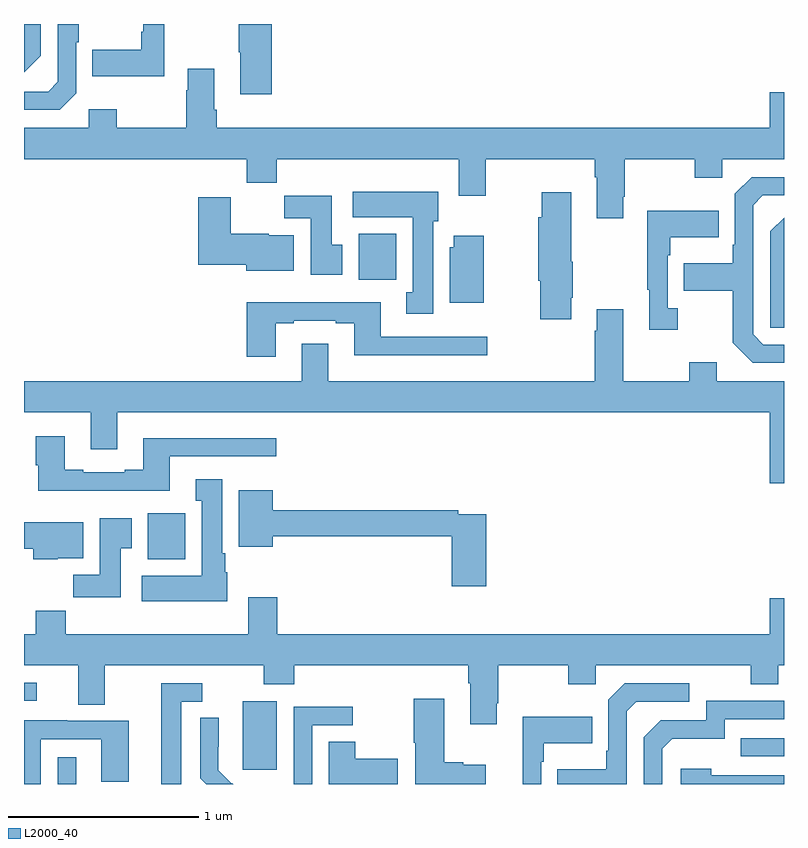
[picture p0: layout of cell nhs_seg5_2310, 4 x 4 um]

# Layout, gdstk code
import gdstk
lib = gdstk.Library(unit=1e-6, precision=1e-09)
def R(c, l, rs):  # rectangles x0, y0, x1, y1
    for r in rs: c.add(gdstk.rectangle(r[:2], r[2:], *l))
def P(c, l, *ps):  # polygons
    for p in ps: c.add(gdstk.Polygon(p, *l))
L2000_40 = (2000, 40)

nhs_seg5_2310 = lib.new_cell('nhs_seg5_2310')
R(nhs_seg5_2310, L2000_40, [(245.178,858.799,245.275,858.94), (246.152,858.873,246.331,859.234), (248.773,858.945,249,859.041), (245,859.236,245.068,859.332), (245.651,859.982,245.848,860.224), (246.761,861.452,246.958,861.694)])
P(nhs_seg5_2310, L2000_40, [(245.737,862.799),(245.628,862.799),(245.628,862.759),(245.616,862.759),(245.616,862.663),(245.359,862.663),(245.359,862.523),(245.737,862.523)],
  [(246.305,862.799),(246.13,862.799),(246.13,862.651),(246.137,862.651),(246.137,862.428),(246.305,862.428)],
  [(245.274,862.434),(245.274,862.703),(245.287,862.703),(245.287,862.799),(245.178,862.799),(245.178,862.494),(245.127,862.443),(245,862.443),(245,862.347),(245.187,862.347)],
  [(245.088,862.632),(245.088,862.799),(245,862.799),(245,862.544)],
  [(248.155,861.889),(248.163,861.889),(248.163,862.088),(248.53,862.088),(248.53,861.989),(248.676,861.989),(248.676,862.088),(249,862.088),(249,862.441),(248.924,862.441),(248.924,862.252),(246.014,862.252),(246.014,862.348),(246.001,862.348),(246.001,862.564),(245.861,862.564),(245.861,862.451),(245.854,862.451),(245.854,862.252),(245.487,862.252),(245.487,862.351),(245.34,862.351),(245.34,862.252),(245,862.252),(245,862.088),(246.173,862.088),(246.173,861.964),(246.329,861.964),(246.329,862.088),(247.289,862.088),(247.289,861.894),(247.429,861.894),(247.429,862.088),(248.003,862.088),(248.003,861.992),(248.015,861.992),(248.015,861.777),(248.155,861.777)],
  [(249,861.111),(248.892,861.111),(248.838,861.165),(248.838,861.846),(248.889,861.897),(249,861.897),(249,861.993),(248.829,861.993),(248.742,861.906),(248.742,861.637),(248.73,861.637),(248.73,861.541),(248.473,861.541),(248.473,861.394),(248.73,861.394),(248.73,861.121),(248.835,861.015),(249,861.015)],
  [(247.153,861.762),(247.18,861.762),(247.18,861.916),(246.729,861.916),(246.729,861.782),(247.046,861.782),(247.046,861.386),(247.013,861.386),(247.013,861.273),(247.153,861.273)],
  [(247.879,861.358),(247.887,861.358),(247.887,861.547),(247.879,861.547),(247.879,861.913),(247.724,861.913),(247.724,861.783),(247.706,861.783),(247.706,861.447),(247.717,861.447),(247.717,861.246),(247.879,861.246)],
  [(246.676,861.636),(246.619,861.636),(246.619,861.895),(246.37,861.895),(246.37,861.776),(246.509,861.776),(246.509,861.48),(246.676,861.48)],
  [(246.421,861.688),(246.288,861.688),(246.288,861.694),(246.088,861.694),(246.088,861.886),(245.918,861.886),(245.918,861.533),(246.17,861.533),(246.17,861.5),(246.421,861.5)],
  [(248.44,861.302),(248.388,861.302),(248.388,861.581),(248.401,861.581),(248.401,861.677),(248.657,861.677),(248.657,861.817),(248.28,861.817),(248.28,861.401),(248.291,861.401),(248.291,861.189),(248.44,861.189)],
  [(249,861.78),(248.928,861.708),(248.928,861.201),(249,861.201)],
  [(247.42,861.685),(247.262,861.685),(247.262,861.624),(247.241,861.624),(247.241,861.332),(247.42,861.332)],
  [(246.325,861.225),(246.421,861.225),(246.421,861.237),(246.641,861.237),(246.641,861.225),(246.737,861.225),(246.737,861.056),(247.438,861.056),(247.438,861.153),(246.877,861.153),(246.877,861.334),(246.173,861.334),(246.173,861.048),(246.325,861.048)],
  [(249,860.92),(248.647,860.92),(248.647,861.019),(248.5,861.019),(248.5,860.92),(248.155,860.92),(248.155,861.298),(248.015,861.298),(248.015,861.185),(248.003,861.185),(248.003,860.92),(246.601,860.92),(246.601,861.115),(246.461,861.115),(246.461,860.92),(245,860.92),(245,860.756),(245.351,860.756),(245.351,860.562),(245.491,860.562),(245.491,860.756),(248.924,860.756),(248.924,860.382),(249,860.382)],
  [(245.767,860.523),(246.328,860.523),(246.328,860.62),(245.627,860.62),(245.627,860.452),(245.531,860.452),(245.531,860.439),(245.311,860.439),(245.311,860.452),(245.215,860.452),(245.215,860.629),(245.063,860.629),(245.063,860.476),(245.075,860.476),(245.075,860.342),(245.767,860.342)],
  [(246.07,859.914),(246.058,859.914),(246.058,860.014),(246.043,860.014),(246.043,860.404),(245.903,860.404),(245.903,860.291),(245.936,860.291),(245.936,859.894),(245.619,859.894),(245.619,859.76),(246.07,859.76)],
  [(247.433,860.22),(247.286,860.22),(247.286,860.24),(246.31,860.24),(246.31,860.344),(246.131,860.344),(246.131,860.048),(246.31,860.048),(246.31,860.104),(247.25,860.104),(247.25,859.839),(247.433,859.839)],
  [(245.509,860.041),(245.566,860.041),(245.566,860.197),(245.399,860.197),(245.399,859.9),(245.26,859.9),(245.26,859.782),(245.509,859.782)],
  [(245.178,859.988),(245.311,859.988),(245.311,860.176),(245,860.176),(245,860.036),(245.048,860.036),(245.048,859.982),(245.178,859.982)],
  [(247.489,859.225),(247.497,859.225),(247.497,859.424),(247.864,859.424),(247.864,859.325),(248.01,859.325),(248.01,859.424),(248.824,859.424),(248.824,859.325),(248.971,859.325),(248.971,859.424),(249,859.424),(249,859.777),(248.924,859.777),(248.924,859.588),(246.332,859.588),(246.332,859.783),(246.179,859.783),(246.179,859.588),(245.219,859.588),(245.219,859.712),(245.063,859.712),(245.063,859.588),(245,859.588),(245,859.424),(245.285,859.424),(245.285,859.216),(245.425,859.216),(245.425,859.424),(246.262,859.424),(246.262,859.325),(246.422,859.325),(246.422,859.424),(247.337,859.424),(247.337,859.328),(247.349,859.328),(247.349,859.113),(247.489,859.113)],
  [(248.172,859.182),(248.223,859.233),(248.5,859.233),(248.5,859.329),(248.163,859.329),(248.076,859.242),(248.076,858.973),(248.064,858.973),(248.064,858.877),(247.807,858.877),(247.807,858.799),(248.172,858.799)],
  [(245.827,859.233),(245.938,859.233),(245.938,859.329),(245.723,859.329),(245.723,858.799),(245.827,858.799)],
  [(247.429,858.901),(247.313,858.901),(247.313,858.914),(247.213,858.914),(247.213,859.249),(247.051,859.249),(247.051,859.015),(247.058,859.015),(247.058,858.799),(247.429,858.799)],
  [(248.358,858.984),(248.411,859.037),(248.688,859.037),(248.688,859.14),(249,859.14),(249,859.236),(248.592,859.236),(248.592,859.134),(248.352,859.134),(248.262,859.044),(248.262,858.799),(248.358,858.799)],
  [(246.516,859.107),(246.73,859.107),(246.73,859.206),(246.42,859.206),(246.42,858.799),(246.516,858.799)],
  [(247.722,858.917),(247.735,858.917),(247.735,859.013),(247.991,859.013),(247.991,859.153),(247.625,859.153),(247.625,858.799),(247.722,858.799)],
  [(246.096,858.804),(246.093,858.801),(246.023,858.872),(246.023,858.994),(246.024,858.994),(246.024,859.148),(245.928,859.148),(245.928,858.83),(245.959,858.799),(246.101,858.799)],
  [(245.088,859.035),(245.406,859.035),(245.406,858.811),(245.551,858.811),(245.551,859.131),(245.227,859.131),(245.227,859.135),(245,859.135),(245,858.799),(245.088,858.799)],
  [(246.967,858.932),(246.744,858.932),(246.744,859.022),(246.605,859.022),(246.605,858.799),(246.967,858.799)],
  [(249,858.846),(248.618,858.846),(248.618,858.88),(248.457,858.88),(248.457,858.799),(249,858.799)])

lib.write_gds('nhs_seg5_2310.gds')
